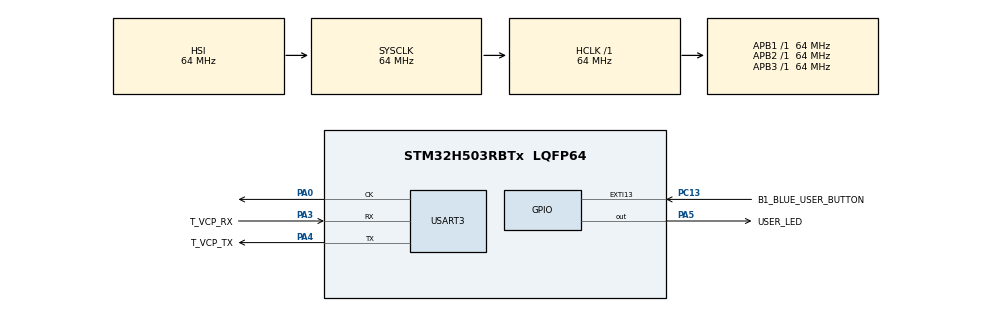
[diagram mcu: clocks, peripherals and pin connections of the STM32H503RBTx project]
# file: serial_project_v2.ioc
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BOOTPATH.BootPathName=LEGACY
BOOTPATH.UserSelectedBootPath=LEGACY
Mcu.Family=STM32H5
Mcu.Name=STM32H503RBTx
Mcu.Package=LQFP64
NVIC.PriorityGroup=NVIC_PRIORITYGROUP_4
PA0.Mode=Synchronous
PA0.Signal=USART3_CK
PA3.GPIO_Label=T_VCP_RX
PA3.Mode=Synchronous
PA3.Signal=USART3_RX
PA4.GPIO_Label=T_VCP_TX
PA4.Mode=Synchronous
PA4.Signal=USART3_TX
PA5.GPIO_Label=USER_LED
PA5.Signal=GPIO_Output
PC13.GPIO_Label=B1_BLUE_USER_BUTTON
PC13.Signal=GPXTI13
ProjectManager.HeapSize=0x200
ProjectManager.StackSize=0x400
ProjectManager.TargetToolchain=STM32CubeIDE
RCC.ADCFreq_Value=64000000
RCC.AHBFreq_Value=64000000
RCC.APB1Freq_Value=64000000
RCC.APB1TimFreq_Value=64000000
RCC.APB2Freq_Value=64000000
RCC.APB2TimFreq_Value=64000000
RCC.APB3Freq_Value=64000000
RCC.CSI_VALUE=4000000
RCC.CortexFreq_Value=64000000
RCC.EPOD_VALUE=4000000
RCC.HCLKFreq_Value=64000000
RCC.HSE_VALUE=24000000
RCC.HSI48_VALUE=48000000
RCC.HSIDiv=RCC_HSI_DIV1
RCC.HSI_VALUE=64000000
RCC.LSE_VALUE=32768
RCC.LSIRC_VALUE=32000
RCC.PLLN=32
RCC.SYSCLKFreq_VALUE=64000000
RCC.USBFreq_Value=48000000
RCC.VCOOutputFreq_Value=128000000
USART3.VirtualMode-Synchronous=VM_SYNC
VP_BOOTPATH_VS_BOOTPATH.Mode=BP_Activate
VP_CORTEX_M33_NS_VS_Hclk.Mode=Hclk_Mode
VP_MEMORYMAP_VS_MEMORYMAP.Mode=CurAppReg
VP_PWR_VS_DBSignals.Mode=DisableDeadBatterySignals
VP_PWR_VS_LPOM.Mode=PowerOptimisation
VP_PWR_VS_SECSignals.Mode=Security/Privilege
board=NUCLEO-H503RB

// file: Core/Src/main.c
/* USER CODE BEGIN Header */
/**
  ******************************************************************************
  * @file           : main.c
  * @brief          : Main program body
  ******************************************************************************
  * @attention
  *
  * Copyright (c) 2026 STMicroelectronics.
  * All rights reserved.
  *
  * This software is licensed under terms that can be found in the LICENSE file
  * in the root directory of this software component.
  * If no LICENSE file comes with this software, it is provided AS-IS.
  *
  ******************************************************************************
  */
/* USER CODE END Header */
#include "main.h"

/* USER CODE BEGIN Includes */

#include <stdio.h>    // add this
#include <string.h>   // for strlen
/* USER CODE END Includes */

USART_HandleTypeDef husart3;
uint8_t mode = 0;
uint32_t count = 0;
uint32_t counter = 0;
uint8_t modemsgsent = 0;
uint8_t prev_butt = GPIO_PIN_RESET;
uint8_t led_toggle = 0;
uint32_t osc = 500;
int8_t dir = -25;

void SystemClock_Config(void);
static void MX_GPIO_Init(void);
static void MX_USART3_Init(void);

int main(void)
{

  /* MCU Configuration--------------------------------------------------------*/

  /* Reset of all peripherals, Initializes the Flash interface and the Systick. */
  HAL_Init();

  /* Configure the system clock */
  SystemClock_Config();

  /* Initialize all configured peripherals */
  MX_GPIO_Init();
  MX_USART3_Init();
  /* USER CODE BEGIN 2 */
  char mode0msg[] = "[MODE 0] TICK\r\n";
  char mode1msg[] = "[MODE 1] SLOW BLINK\r\n";
  char mode2msg[] = "[MODE 2] FAST BLINK\r\n";
  char mode3msg[] = "[MODE 3] OSCILLATE\r\n";

  char msg[50];
  HAL_Delay(500); // let things settle before starting
  /* USER CODE END 2 */

  /* Infinite loop */
  /* USER CODE BEGIN WHILE */
  while (1)
  {

	  uint32_t ticks = HAL_GetTick();
	  uint8_t curr_butt = HAL_GPIO_ReadPin(B1_BLUE_USER_BUTTON_GPIO_Port, B1_BLUE_USER_BUTTON_Pin);

	  // Check if the Blue User Button is pressed
	      // Note: Most Nucleo buttons are "Active Low", but some are "Active High".
	      // If it doesn't work with GPIO_PIN_SET, try GPIO_PIN_RESET.
	      if (curr_butt == GPIO_PIN_SET && prev_butt == GPIO_PIN_RESET)
	      {
	          // Toggle the LED

	          modemsgsent = 0;
	          mode++;
	          counter = 0;

	          // Short delay to prevent accidental double-toggles
	          HAL_Delay(50);
	      }
	      prev_butt = curr_butt;

	      if (mode == 0 && HAL_GetTick() - counter >= 1000)
	      {
	    	  count++;
	    	  counter = HAL_GetTick();
	    	  if (modemsgsent == 0)
	    	  {
		    	  HAL_USART_Transmit(&husart3, (uint8_t*)mode0msg, strlen(mode0msg), HAL_MAX_DELAY);
		    	  modemsgsent = 1;
	    	  }

	    	  sprintf(msg, "[%lu] TICK = %lu ms\r\n", count, ticks);
	    	  HAL_USART_Transmit(&husart3, (uint8_t*)msg, strlen(msg), HAL_MAX_DELAY);

	      }

	      if (mode == 1 && HAL_GetTick() - counter >= 500)
	      {
	    	  counter = HAL_GetTick();

	    	  if (modemsgsent == 0)
	    	  {
		    	  HAL_USART_Transmit(&husart3, (uint8_t*)mode1msg, strlen(mode1msg), HAL_MAX_DELAY);
		    	  modemsgsent = 1;
	    	  }

	    	  HAL_GPIO_TogglePin(USER_LED_GPIO_Port, USER_LED_Pin);
	    	  led_toggle = !led_toggle;

	    	  if (led_toggle == 1)
	    	  {
		    	  sprintf(msg, "[MODE 1] SLOW BLINK [ON] %lu ms\r\n",ticks);

	    	  }
	    	  if (led_toggle == 0)
	    	  {
	    	      sprintf(msg, "[MODE 1] SLOW BLINK [OFF] %lu ms\r\n",ticks);
	    	  }
	    	  HAL_USART_Transmit(&husart3, (uint8_t*)msg, strlen(msg), HAL_MAX_DELAY);

	      }
	      if (mode == 2 && HAL_GetTick() - counter >= 100)
	      {
	    	  counter = HAL_GetTick();

	    	  if (modemsgsent == 0)
	    	  {
		    	  HAL_USART_Transmit(&husart3, (uint8_t*)mode2msg, strlen(mode2msg), HAL_MAX_DELAY);
		    	  modemsgsent = 1;
	    	  }

	    	  HAL_GPIO_TogglePin(USER_LED_GPIO_Port, USER_LED_Pin);
	    	  led_toggle = !led_toggle;

	    	  if (led_toggle == 1)
	    	  {
		    	  sprintf(msg, "[MODE 2] FAST BLINK [ON] %lu ms\r\n",ticks);

	    	  }
	    	  if (led_toggle == 0)
	    	  {
	    	      sprintf(msg, "[MODE 2] FAST BLINK [OFF] %lu ms\r\n",ticks);
	    	  }
	    	  HAL_USART_Transmit(&husart3, (uint8_t*)msg, strlen(msg), HAL_MAX_DELAY);

	      }
	      if (mode == 3 && HAL_GetTick() - counter >= osc)
	      {
	    	  counter = HAL_GetTick();
	    	  osc += dir;
	    	  if (modemsgsent == 0)
	    	  {
		    	  HAL_USART_Transmit(&husart3, (uint8_t*)mode3msg, strlen(mode3msg), HAL_MAX_DELAY);
		    	  modemsgsent = 1;
	    	  }
	    	  if (osc >= 500)
	    	  {
	    		  dir = -25;
	    	  }
	    	  if (osc <= 50)
	    	  {
	    		  dir = 25;
	    	  }
	    	  HAL_GPIO_TogglePin(USER_LED_GPIO_Port, USER_LED_Pin);
	    	  led_toggle = !led_toggle;

	    	  if (led_toggle == 1)
	    	  {
		    	  sprintf(msg, "[MODE 3] OSCILLATING [ON] DELTA = |%lu| %lu ms\r\n",osc,ticks);

	    	  }
	    	  if (led_toggle == 0)
	    	  {
	    	      sprintf(msg, "[MODE 3] OSCILLATING [OFF] DELTA = |%lu| %lu ms\r\n",osc,ticks);
	    	  }
	    	  HAL_USART_Transmit(&husart3, (uint8_t*)msg, strlen(msg), HAL_MAX_DELAY);

	      }

	      if (mode >= 4)
	      {
	    	  mode = 0;
	      }
    /* USER CODE END WHILE */
	  // 1. Toggle the state of the LED pin
//	      HAL_GPIO_TogglePin(USER_LED_GPIO_Port, USER_LED_Pin);
//
//	      // 2. Wait for 500 milliseconds (0.5 seconds)
//	      HAL_Delay(500);
  }
}

void SystemClock_Config(void)
{
  RCC_OscInitTypeDef RCC_OscInitStruct = {0};
  RCC_ClkInitTypeDef RCC_ClkInitStruct = {0};

  /** Configure the main internal regulator output voltage
  */
  __HAL_PWR_VOLTAGESCALING_CONFIG(PWR_REGULATOR_VOLTAGE_SCALE3);

  while(!__HAL_PWR_GET_FLAG(PWR_FLAG_VOSRDY)) {}

  /** Initializes the RCC Oscillators according to the specified parameters
  * in the RCC_OscInitTypeDef structure.
  */
  RCC_OscInitStruct.OscillatorType = RCC_OSCILLATORTYPE_HSI;
  RCC_OscInitStruct.HSIState = RCC_HSI_ON;
  RCC_OscInitStruct.HSIDiv = RCC_HSI_DIV1;
  RCC_OscInitStruct.HSICalibrationValue = RCC_HSICALIBRATION_DEFAULT;
  RCC_OscInitStruct.PLL.PLLState = RCC_PLL_NONE;
  if (HAL_RCC_OscConfig(&RCC_OscInitStruct) != HAL_OK)
  {
    Error_Handler();
  }

  /** Initializes the CPU, AHB and APB buses clocks
  */
  RCC_ClkInitStruct.ClockType = RCC_CLOCKTYPE_HCLK|RCC_CLOCKTYPE_SYSCLK
                              |RCC_CLOCKTYPE_PCLK1|RCC_CLOCKTYPE_PCLK2
                              |RCC_CLOCKTYPE_PCLK3;
  RCC_ClkInitStruct.SYSCLKSource = RCC_SYSCLKSOURCE_HSI;
  RCC_ClkInitStruct.AHBCLKDivider = RCC_SYSCLK_DIV1;
  RCC_ClkInitStruct.APB1CLKDivider = RCC_HCLK_DIV1;
  RCC_ClkInitStruct.APB2CLKDivider = RCC_HCLK_DIV1;
  RCC_ClkInitStruct.APB3CLKDivider = RCC_HCLK_DIV1;

  if (HAL_RCC_ClockConfig(&RCC_ClkInitStruct, FLASH_LATENCY_3) != HAL_OK)
  {
    Error_Handler();
  }

  /** Configure the programming delay
  */
  __HAL_FLASH_SET_PROGRAM_DELAY(FLASH_PROGRAMMING_DELAY_1);
}

static void MX_USART3_Init(void)
{

  husart3.Instance = USART3;
  husart3.Init.BaudRate = 115200;
  husart3.Init.WordLength = USART_WORDLENGTH_8B;
  husart3.Init.StopBits = USART_STOPBITS_1;
  husart3.Init.Parity = USART_PARITY_NONE;
  husart3.Init.Mode = USART_MODE_TX_RX;
  husart3.Init.CLKPolarity = USART_POLARITY_LOW;
  husart3.Init.CLKPhase = USART_PHASE_1EDGE;
  husart3.Init.CLKLastBit = USART_LASTBIT_DISABLE;
  husart3.Init.ClockPrescaler = USART_PRESCALER_DIV1;
  husart3.SlaveMode = USART_SLAVEMODE_DISABLE;
  if (HAL_USART_Init(&husart3) != HAL_OK)
  {
    Error_Handler();
  }
  if (HAL_USARTEx_SetTxFifoThreshold(&husart3, USART_TXFIFO_THRESHOLD_1_8) != HAL_OK)
  {
    Error_Handler();
  }
  if (HAL_USARTEx_SetRxFifoThreshold(&husart3, USART_RXFIFO_THRESHOLD_1_8) != HAL_OK)
  {
    Error_Handler();
  }
  if (HAL_USARTEx_DisableFifoMode(&husart3) != HAL_OK)
  {
    Error_Handler();
  }

}

static void MX_GPIO_Init(void)
{
  GPIO_InitTypeDef GPIO_InitStruct = {0};

  /* GPIO Ports Clock Enable */
  __HAL_RCC_GPIOC_CLK_ENABLE();
  __HAL_RCC_GPIOA_CLK_ENABLE();

  /*Configure GPIO pin Output Level */
  HAL_GPIO_WritePin(USER_LED_GPIO_Port, USER_LED_Pin, GPIO_PIN_RESET);

  /*Configure GPIO pin : B1_BLUE_USER_BUTTON_Pin */
  GPIO_InitStruct.Pin = B1_BLUE_USER_BUTTON_Pin;
  GPIO_InitStruct.Mode = GPIO_MODE_IT_RISING;
  GPIO_InitStruct.Pull = GPIO_NOPULL;
  HAL_GPIO_Init(B1_BLUE_USER_BUTTON_GPIO_Port, &GPIO_InitStruct);

  /*Configure GPIO pin : USER_LED_Pin */
  GPIO_InitStruct.Pin = USER_LED_Pin;
  GPIO_InitStruct.Mode = GPIO_MODE_OUTPUT_PP;
  GPIO_InitStruct.Pull = GPIO_NOPULL;
  GPIO_InitStruct.Speed = GPIO_SPEED_FREQ_LOW;
  HAL_GPIO_Init(USER_LED_GPIO_Port, &GPIO_InitStruct);

}

void Error_Handler(void)
{
  __disable_irq();
  while (1)
  {
  }
}
